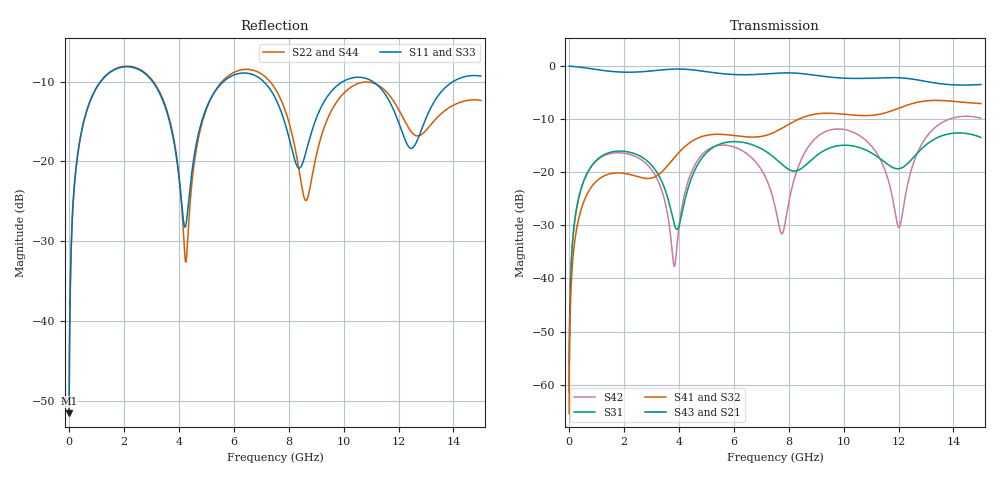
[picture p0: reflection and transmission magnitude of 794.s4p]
! Created with skrf 1.8.0 (http://scikit-rf.org).
# GHz S RI R 50.0
!freq ReS11 ImS11 ReS12 ImS12 ReS13 ImS13
! ReS14 ImS14
! ReS21 ImS21 ReS22 ImS22 ReS23 ImS23
! ReS24 ImS24
! ReS31 ImS31 ReS32 ImS32 ReS33 ImS33
! ReS34 ImS34
! ReS41 ImS41 ReS42 ImS42 ReS43 ImS43
! ReS44 ImS44
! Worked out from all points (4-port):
!   2499 points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, 5 MHz to 15 GHz, reference 50 ohm
!   strongest paths, dB at 5 MHz, 3.476 GHz, 7.19 GHz, 11.1 GHz, 15 GHz:
!     S43: 0.0, -0.7, -1.5, -2.3, -3.5
!     S21: 0.0, -0.7, -1.5, -2.2, -3.5
!     S41: -65.4, -19.4, -13.0, -9.2, -7.1
!     S32: -65.4, -19.4, -13.1, -9.3, -7.1
!     S31: -61.5, -22.9, -16.1, -16.6, -13.4
!     S42: -61.5, -25.2, -21.3, -15.6, -9.8
!   lowest |S11| = -51.5 dB at 5 MHz (marker M1), VSWR 1.01, Z = 50.2 + j0.161 ohm
!   |S11| at or under -10 dB: 3.043 GHz to 5.628 GHz (2.585 GHz wide, 59.6 % of centre); 7.088 GHz to 9.977 GHz (2.889 GHz wide, 33.9 % of centre); 11.06 GHz to 13.99 GHz (2.926 GHz wide, 23.4 % of centre) (the widest 3 of 4)
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0.005  0.00211 0.0016  0.9978 -0.00411  0.000108 0.000838  -0.000105 -0.000526
       0.9978 -0.00411  0.00211 0.0016  -0.000105 -0.000526  0.000108 0.000838
       0.000108 0.000838  -0.000105 -0.000526  0.00211 0.0016  0.9978 -0.00411
       -0.000105 -0.000526  0.000108 0.000838  0.9978 -0.00411  0.00211 0.0016
0.2626094  0.0283 0.0883  0.9615 -0.2145  0.0133 0.0413  -0.0107 -0.0256
           0.9615 -0.2145  0.0284 0.0883  -0.0107 -0.0256  0.0125 0.0415
           0.0133 0.0413  -0.0107 -0.0256  0.0283 0.0883  0.9615 -0.2145
           -0.0107 -0.0256  0.0125 0.0415  0.9615 -0.2145  0.0284 0.0883
1.269279  0.2861 0.1715  0.5113 -0.7492  0.1372 0.0494  -0.0922 -2.53e-05
          0.5113 -0.7492  0.2892 0.1692  -0.0921 -0.000153  0.1287 0.0621
          0.1372 0.0494  -0.0921 -0.000153  0.2861 0.1714  0.5114 -0.7492
          -0.0922 -2.53e-05  0.1287 0.0621  0.5114 -0.7492  0.2891 0.1692
4.195498  0.0386 -0.0101  -0.93 -0.094  -0.0166 0.0484  -0.0125 0.1717
          -0.93 -0.094  0.0231 -0.0185  -0.0143 0.1715  0.0185 0.0573
          -0.0166 0.0484  -0.0143 0.1715  0.0389 -0.0101  -0.93 -0.0943
          -0.0125 0.1717  0.0185 0.0573  -0.93 -0.0943  0.0227 -0.0187
8.47228  0.0927 0.0171  0.8366 0.1474  -0.0788 0.0752  0.0472 -0.3217
         0.8366 0.1474  0.0556 -0.0436  0.0546 -0.3204  0.0617 0.1189
         -0.0788 0.0752  0.0546 -0.3204  0.0886 0.0228  0.837 0.1462
         0.0472 -0.3217  0.0617 0.1189  0.837 0.1462  0.0564 -0.0385
11.21092  0.2876 -0.0945  -0.1243 -0.7642  0.0553 -0.13  -0.3321 0.1045
          -0.1243 -0.7642  0.2968 -0.0608  -0.3342 0.0924  0.0871 -0.1227
          0.0553 -0.13  -0.3342 0.0924  0.2923 -0.0985  -0.122 -0.7631
          -0.3321 0.1045  0.0871 -0.1227  -0.122 -0.7631  0.3005 -0.0565
15  0.3325 -0.0805  -0.2159 0.6337  0.2118 -0.0189  0.4426 0.0338
    -0.2159 0.6337  0.2343 -0.0553  0.4362 0.0513  0.287 -0.1479
    0.2118 -0.0189  0.4362 0.0513  0.3374 -0.0838  -0.2192 0.6331
    0.4426 0.0338  0.287 -0.1479  -0.2192 0.6331  0.2248 -0.0467
